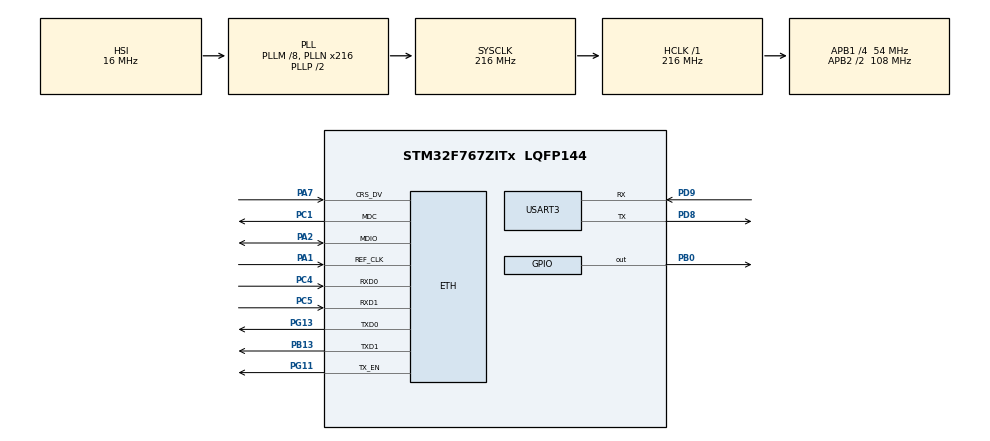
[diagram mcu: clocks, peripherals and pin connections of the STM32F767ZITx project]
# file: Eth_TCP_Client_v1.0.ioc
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CORTEX_M7.CPU_DCache=Disabled
CORTEX_M7.CPU_ICache=Disabled
CORTEX_M7.MPU_Control=__NULL
CORTEX_M7.PREFETCH_ENABLE=0
ETH.MACAddr=00\:80\:E1\:00\:00\:01
ETH.MediaInterface=HAL_ETH_RMII_MODE
ETH.PhyAddress=0
FREERTOS.INCLUDE_vTaskDelayUntil=1
FREERTOS.Tasks01=defaultTask,0,128,StartDefaultTask,Default,NULL,Dynamic,NULL,NULL
FREERTOS.configMAX_TASK_NAME_LEN=31
FREERTOS.configUSE_IDLE_HOOK=1
FREERTOS.configUSE_TIMERS=1
LWIP.GATEWAY_ADDRESS=192.168.178.001
LWIP.IP_ADDRESS=192.168.178.106
LWIP.LWIP_DHCP=0
LWIP.LWIP_ICMP=1
LWIP.LWIP_UDP=0
LWIP.MEM_SIZE=10*1024
LWIP.NETMASK_ADDRESS=255.255.255.000
LWIP.Version=v2.1.2_Cube
Mcu.Family=STM32F7
Mcu.Name=STM32F767ZITx
Mcu.Package=LQFP144
NVIC.ETH_IRQn=true\:5\:0\:true\:false\:true\:false\:true\:true\:true
NVIC.ETH_WKUP_IRQn=true\:5\:0\:true\:false\:true\:false\:true\:true\:true
NVIC.PriorityGroup=NVIC_PRIORITYGROUP_4
NVIC.TIM1_UP_TIM10_IRQn=true\:0\:0\:false\:false\:true\:false\:false\:true\:true
NVIC.TimeBase=TIM1_UP_TIM10_IRQn
NVIC.TimeBaseIP=TIM10
PA1.Mode=RMII
PA1.Signal=ETH_REF_CLK
PA13.Mode=Serial_Wire
PA13.Signal=SYS_JTMS-SWDIO
PA14.Mode=Serial_Wire
PA14.Signal=SYS_JTCK-SWCLK
PA2.Mode=RMII
PA2.Signal=ETH_MDIO
PA7.Mode=RMII
PA7.Signal=ETH_CRS_DV
PB0.Signal=GPIO_Output
PB13.Mode=RMII
PB13.Signal=ETH_TXD1
PC1.Mode=RMII
PC1.Signal=ETH_MDC
PC4.Mode=RMII
PC4.Signal=ETH_RXD0
PC5.Mode=RMII
PC5.Signal=ETH_RXD1
PD8.Mode=Asynchronous
PD8.Signal=USART3_TX
PD9.Mode=Asynchronous
PD9.Signal=USART3_RX
PG11.Mode=RMII
PG11.Signal=ETH_TX_EN
PG13.Mode=RMII
PG13.Signal=ETH_TXD0
ProjectManager.HeapSize=0x200
ProjectManager.StackSize=0x400
ProjectManager.TargetToolchain=CMake
RCC.48MHZClocksFreq_Value=24000000
RCC.AHBFreq_Value=216000000
RCC.APB1CLKDivider=RCC_HCLK_DIV4
RCC.APB1Freq_Value=54000000
RCC.APB1TimFreq_Value=108000000
RCC.APB2CLKDivider=RCC_HCLK_DIV2
RCC.APB2Freq_Value=108000000
RCC.APB2TimFreq_Value=216000000
RCC.CortexFreq_Value=216000000
RCC.HCLKFreq_Value=216000000
RCC.HSE_VALUE=8000000
RCC.HSI_VALUE=16000000
RCC.LSE_VALUE=32768
RCC.PLLM=8
RCC.PLLMUL=RCC_PLL_MUL9
RCC.PLLN=216
RCC.PRESCALERUSB=RCC_USBCLKSOURCE_PLL_DIV1_5
RCC.SYSCLKFreq_VALUE=216000000
RCC.SYSCLKSource=RCC_SYSCLKSOURCE_PLLCLK
RCC.SYSCLKSourceVirtual=RCC_SYSCLKSOURCE_PLLCLK
RCC.USBFreq_Value=216000000
RCC.VCOOutputFreq_Value=432000000
USART3.VirtualMode-Asynchronous=VM_ASYNC
VP_FREERTOS_VS_CMSIS_V1.Mode=CMSIS_V1
VP_LWIP_VS_Enabled.Mode=Enabled
VP_SYS_VS_tim10.Mode=TIM10
board=NUCLEO-F767ZI

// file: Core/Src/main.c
/* USER CODE BEGIN Header */
/**
  *******************************************************************************
  * @file           : main.c													*
  * @brief          : A TCP-Client Project										*
  *******************************************************************************
  * @author			: Jabed-Akhtar (GitHub)										*
  * @date			: 30.10.2022												*
  *******************************************************************************
  * @attention																	*
  * 	-> Tag: WORKING :)														*
  *																				*
  * Imp note:																	*
  * 	- comment out #include "cmsis_os.h" , as it is not used					*
  * 	- comment or remote by-default created task related stuffs				*
  *																				*
  * Description:																*
  * 	- This project sends Hello msg to Server, when Server sends any msg.	*
  * 	- MCU-Board IP Address: 192.168.178.106	(See MX_LWIP_Init(); )			*
  * 	- LED for Info: PB0 (Green LED) toggles after sending out msg to Server *
  * 	- TCP-Client programming is done in task_TCPClient						*
  *		- TCP Client Programming steps:											*
  *			|- 1. Create TCP Socket												*
  *			|- 2. Connect this Client to the Server								*
  *			|- Rx <-> Tx														*
  *			|- 3. Close the Socket												*
  *	    																		*
  *******************************************************************************
  */
/* USER CODE END Header */
#include "main.h"
//#include "cmsis_os.h"
#include "lwip.h"

/* USER CODE BEGIN Includes */
#include <stdbool.h>
#include <string.h>
#include <stdio.h>
#include "FreeRTOS.h"
#include "task.h"
#include "queue.h"
#include "semphr.h"
#include "timers.h"
#include "lwip/api.h"
#include "lwip/sockets.h"
#include "lwip/inet.h"
/* USER CODE END Includes */

/* USER CODE BEGIN PD */
#define SERVADDR "192.168.178.62"	// Address of the Server to connect this Client to.
#define SERVPORT 1416				// Server port this Clients will be connected to.
#define MAXBUFFLEN 100				// Max Bytes for Client Rx-Tx
/* USER CODE END PD */

UART_HandleTypeDef huart3;

//osThreadId defaultTaskHandle;

void SystemClock_Config(void);
static void MX_GPIO_Init(void);
static void MX_USART3_UART_Init(void);
//void StartDefaultTask(void const * argument);

/* USER CODE BEGIN PFP */
void vAplicationIdleHook(void);					// Task > Idle Hook
void task_TCPClient(void *pvParameters);		// Task for this TCP-Client
/* USER CODE END PFP */

int main(void)
{

  /* MCU Configuration--------------------------------------------------------*/

  /* Reset of all peripherals, Initializes the Flash interface and the Systick. */
  HAL_Init();

  /* Configure the system clock */
  SystemClock_Config();

  /* Initialize all configured peripherals */
  MX_GPIO_Init();
  MX_USART3_UART_Init();
  /* USER CODE BEGIN 2 */

  // Initialize LWIP
  MX_LWIP_Init();

  char stri[] = "\n---------- Programm started!!! ----------\n\n\r";
  HAL_UART_Transmit(&huart3, (uint8_t*)stri, strlen(stri), HAL_MAX_DELAY);

  /* USER CODE END 2 */

  /* USER CODE BEGIN RTOS_TIMERS */
  /* start timers, add new ones, ... */
//  xTimerStart(time_LEDToggle, 0);
  /* USER CODE END RTOS_TIMERS */

  /* Create the thread(s) */
  /* definition and creation of defaultTask */
//  osThreadDef(defaultTask, StartDefaultTask, osPriorityNormal, 0, 128);
//  defaultTaskHandle = osThreadCreate(osThread(defaultTask), NULL);

  /* USER CODE BEGIN RTOS_THREADS */
  /* add threads, ... */
  xTaskCreate(task_TCPClient, "task_TCPClient", configMINIMAL_STACK_SIZE*4, NULL, 4, NULL);	// Thread/Task for TCP-Client

  /***** Starting Scheduler *****/
  vTaskStartScheduler();

  /* USER CODE END RTOS_THREADS */

  /* Start scheduler */
//  osKernelStart();

  /* We should never get here as control is now taken by the scheduler */

  /* Infinite loop */
  while (1)
  {

  }
}

void SystemClock_Config(void)
{
  RCC_OscInitTypeDef RCC_OscInitStruct = {0};
  RCC_ClkInitTypeDef RCC_ClkInitStruct = {0};

  /** Configure the main internal regulator output voltage
  */
  __HAL_RCC_PWR_CLK_ENABLE();
  __HAL_PWR_VOLTAGESCALING_CONFIG(PWR_REGULATOR_VOLTAGE_SCALE1);

  /** Initializes the RCC Oscillators according to the specified parameters
  * in the RCC_OscInitTypeDef structure.
  */
  RCC_OscInitStruct.OscillatorType = RCC_OSCILLATORTYPE_HSI;
  RCC_OscInitStruct.HSIState = RCC_HSI_ON;
  RCC_OscInitStruct.HSICalibrationValue = RCC_HSICALIBRATION_DEFAULT;
  RCC_OscInitStruct.PLL.PLLState = RCC_PLL_ON;
  RCC_OscInitStruct.PLL.PLLSource = RCC_PLLSOURCE_HSI;
  RCC_OscInitStruct.PLL.PLLM = 8;
  RCC_OscInitStruct.PLL.PLLN = 216;
  RCC_OscInitStruct.PLL.PLLP = RCC_PLLP_DIV2;
  RCC_OscInitStruct.PLL.PLLQ = 2;
  RCC_OscInitStruct.PLL.PLLR = 2;
  if (HAL_RCC_OscConfig(&RCC_OscInitStruct) != HAL_OK)
  {
    Error_Handler();
  }

  /** Activate the Over-Drive mode
  */
  if (HAL_PWREx_EnableOverDrive() != HAL_OK)
  {
    Error_Handler();
  }

  /** Initializes the CPU, AHB and APB buses clocks
  */
  RCC_ClkInitStruct.ClockType = RCC_CLOCKTYPE_HCLK|RCC_CLOCKTYPE_SYSCLK
                              |RCC_CLOCKTYPE_PCLK1|RCC_CLOCKTYPE_PCLK2;
  RCC_ClkInitStruct.SYSCLKSource = RCC_SYSCLKSOURCE_PLLCLK;
  RCC_ClkInitStruct.AHBCLKDivider = RCC_SYSCLK_DIV1;
  RCC_ClkInitStruct.APB1CLKDivider = RCC_HCLK_DIV4;
  RCC_ClkInitStruct.APB2CLKDivider = RCC_HCLK_DIV2;

  if (HAL_RCC_ClockConfig(&RCC_ClkInitStruct, FLASH_LATENCY_7) != HAL_OK)
  {
    Error_Handler();
  }
}

static void MX_USART3_UART_Init(void)
{

  huart3.Instance = USART3;
  huart3.Init.BaudRate = 115200;
  huart3.Init.WordLength = UART_WORDLENGTH_8B;
  huart3.Init.StopBits = UART_STOPBITS_1;
  huart3.Init.Parity = UART_PARITY_NONE;
  huart3.Init.Mode = UART_MODE_TX_RX;
  huart3.Init.HwFlowCtl = UART_HWCONTROL_NONE;
  huart3.Init.OverSampling = UART_OVERSAMPLING_16;
  huart3.Init.OneBitSampling = UART_ONE_BIT_SAMPLE_DISABLE;
  huart3.AdvancedInit.AdvFeatureInit = UART_ADVFEATURE_NO_INIT;
  if (HAL_UART_Init(&huart3) != HAL_OK)
  {
    Error_Handler();
  }

}

static void MX_GPIO_Init(void)
{
  GPIO_InitTypeDef GPIO_InitStruct = {0};

  /* GPIO Ports Clock Enable */
  __HAL_RCC_GPIOC_CLK_ENABLE();
  __HAL_RCC_GPIOA_CLK_ENABLE();
  __HAL_RCC_GPIOB_CLK_ENABLE();
  __HAL_RCC_GPIOD_CLK_ENABLE();
  __HAL_RCC_GPIOG_CLK_ENABLE();

  /*Configure GPIO pin Output Level */
  HAL_GPIO_WritePin(GPIOB, GPIO_PIN_0, GPIO_PIN_RESET);

  /*Configure GPIO pin : PB0 */
  GPIO_InitStruct.Pin = GPIO_PIN_0;
  GPIO_InitStruct.Mode = GPIO_MODE_OUTPUT_PP;
  GPIO_InitStruct.Pull = GPIO_NOPULL;
  GPIO_InitStruct.Speed = GPIO_SPEED_FREQ_LOW;
  HAL_GPIO_Init(GPIOB, &GPIO_InitStruct);

}

/* USER CODE BEGIN 4 */

/*
 * -> Idle Hook Task
 */
void vAplicationIdleHook(void){
	__WFI();
}

/*
 * -> Task for TCP Client
 * description:
 * 		- Makes connection with Server (For Address of Server see 'Private define')
 * 		- Wait for msg from the Server
 * 		- Sends Hello msg to Server on receiving any msg from the Server
 */
void task_TCPClient(void *pvParameters)
{
	/* --- Variables -----------------------------------------------------------*/
	int					sockfd;					// Socket for this Client
	struct sockaddr_in 	servaddr_toConn;		// Struct for this the Server, this Client will be connected to.
	int					numBytes;				// Integer for receiving Data from Server
	char 				buff[MAXBUFFLEN];		// Buffer to save Rx/Tx Data

	/* --- 1. Create TCP Socket ------------------------------------------------*/
	sockfd = socket(AF_INET, SOCK_STREAM, 0);
	if(sockfd == -1)
	{
		exit(0);
	}

	// Assignments to servaddr
	servaddr_toConn.sin_family = AF_INET;
	servaddr_toConn.sin_port = htons(SERVPORT);
	servaddr_toConn.sin_addr.s_addr = inet_addr(SERVADDR);

	/* --- 2. Connect Client to the Server -------------------------------------*/
	int c_ret = connect(sockfd, (struct sockaddr *)&servaddr_toConn, sizeof(struct sockaddr));
	if(c_ret == -1)
	{
		exit(0);
	}

	while(1)
	{
		// Filling Buffer-Memory with 0 -> Clearing Buffer-Memory
		memset(buff, 0, sizeof(buff));

		/* --- Receiving from Server -------------------------------------------*/
		numBytes = recv(sockfd, buff, MAXBUFFLEN, 0);
		if(numBytes==-1)
		{
			exit(1);
		}

		/* --- Sending to Server -----------------------------------------------*/
		send(sockfd, "Hello from Client!\n", 20, 0);

		// Toggle Green LED after sending out msg to the Server
		HAL_GPIO_TogglePin(GPIOB, GPIO_PIN_0);

		/* --- 3. Close the Socket ---------------------------------------------*/
//		close(sockfd); /* Close socket at the end of programm. !Here it could not be a good idea, */
					   /* as here the socket will be closed after sending msg to Server once :(   */
	}
}

/* USER CODE END 4 */

//void StartDefaultTask(void const * argument)
//{
//  /* init code for LWIP */
//  MX_LWIP_Init();
//  /* USER CODE BEGIN 5 */
//  /* Infinite loop */
//  for(;;)
//  {
//    osDelay(1);
//  }
//  /* USER CODE END 5 */
//}

void HAL_TIM_PeriodElapsedCallback(TIM_HandleTypeDef *htim)
{
  if (htim->Instance == TIM10) {
    HAL_IncTick();
  }
}

void Error_Handler(void)
{
}
